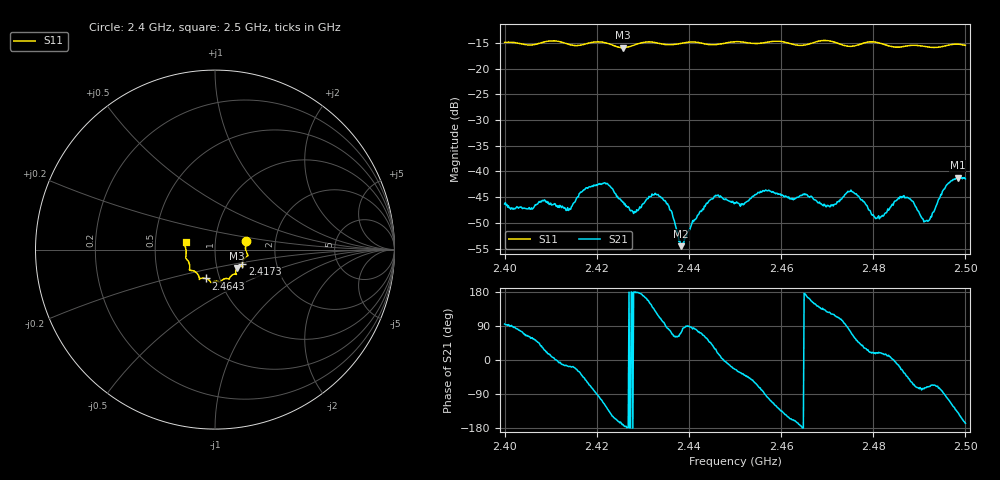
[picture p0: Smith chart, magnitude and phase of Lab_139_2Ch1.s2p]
# Hz S RI R 50
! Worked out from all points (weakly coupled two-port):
!   601 points, 2.4 GHz to 2.5 GHz, reference 50 ohm
!   highest |S21| = -41.18 dB at 2.4983 GHz (marker M1); lowest = -54.5 dB at 2.4383 GHz (marker M2)
!   lowest |S11| = -15.9 dB at 2.4257 GHz (marker M3), VSWR 1.38, Z = 62.4 - j13.2 ohm
!   |S11| at or under -10 dB: start of sweep to end of sweep
!   S12 and S22 are empty: the file has one direction only
!   S11 on the Smith chart (normalised r, x): 2.4 GHz: 1.41, +0.15; 2.4173 GHz: 1.34, -0.23; 2.4643 GHz: 0.86, -0.28; 2.5 GHz: 0.72, +0.06
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2.4e9  0.1734 0.0498  -0.000424 0.00481  0 0  0 0
2.413833e9  0.1668 -0.0453  0.00398 -0.00122  0 0  0 0
2.416667e9  0.1528 -0.0748  0.00487 -0.00398  0 0  0 0
2.417333e9  0.1522 -0.0822  0.00445 -0.00491  0 0  0 0
2.422e9  0.1516 -0.0941  -0.00409 -0.00637  0 0  0 0
2.425667e9  0.1227 -0.1026  -0.00493 -0.000867  0 0  0 0
2.428333e9  0.1154 -0.1267  -0.004 2.34e-05  0 0  0 0
2.433333e9  0.1126 -0.1366  -0.0027 0.00531  0 0  0 0
2.435833e9  0.0955 -0.1419  0.000851 0.00415  0 0  0 0
2.438333e9  0.082 -0.1562  0.000535 0.0018  0 0  0 0
2.445333e9  0.0528 -0.1628  0.00453 0.00311  0 0  0 0
2.45e9  0.0296 -0.1811  0.00451 -0.00207  0 0  0 0
2.464333e9  -0.0505 -0.1608  -0.00583 -0.000611  0 0  0 0
2.466667e9  -0.0766 -0.1599  -0.00514 0.0024  0 0  0 0
2.470833e9  -0.0871 -0.1636  -0.00247 0.00402  0 0  0 0
2.475e9  -0.1066 -0.1261  0.00154 0.00621  0 0  0 0
2.480333e9  -0.1428 -0.1128  0.00339 0.00116  0 0  0 0
2.483333e9  -0.1408 -0.0896  0.00408 0.000913  0 0  0 0
2.487167e9  -0.1568 -0.0554  0.00413 -0.0037  0 0  0 0
2.491667e9  -0.1609 -0.0282  0.00111 -0.00315  0 0  0 0
2.498333e9  -0.1702 0.0328  -0.00649 -0.00584  0 0  0 0
2.5e9  -0.1636 0.0417  -0.00826 -0.00189  0 0  0 0
